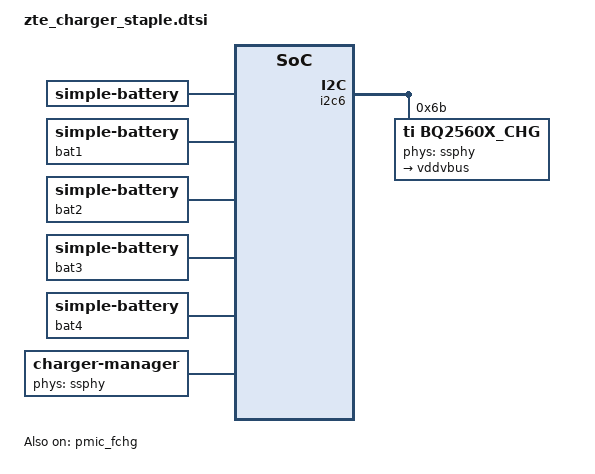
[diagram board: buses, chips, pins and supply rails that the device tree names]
/ {
	bat: battery {
		compatible = "simple-battery";
		charge-full-design-microamp-hours = <3690000>;
		charge-term-current-microamp = <120000>;
		constant-charge-voltage-max-microvolt = <4400000>;
		factory-internal-resistance-micro-ohms = <130000>;
		voltage-min-design-microvolt = <3450000>;
		fullbatt-voltage = <4350000>;
		fullbatt-current = <120000>;
		fullbatt-track-end-vol = <4345000>;
		fullbatt-track-end-cur = <130000>;
		first-calib-voltage = <3630000>;
		first-calib-capacity = <50>;

		cap-calib-energy-density-ocv-table = <3350000 3800000>, <4150000 4350000>;
		cap-track-energy-density-ocv-table = <3400000 3722000>;

		ocv-capacity-celsius = <20>;
		ocv-capacity-table-0 = <4380000 100>, <4317000 95>, <4258000 90>,
					<4200000 85>, <4145000 80>, <4092000 75>,
					<4047000 70>, <3990000 65>, <3955000 60>,
					<3900000 55>, <3861000 50>, <3834000 45>,
					<3813000 40>, <3796000 35>, <3783000 30>,
					<3770000 25>, <3752000 20>, <3730000 15>,
					<3698000 10>, <3687000 5>, <3400000 0>;
		voltage-temp-table = <1095000 800>, <986000 850>, <878000 900>,
					<775000 950>, <678000 1000>, <590000 1050>,
					<510000 1100>, <440000 1150>, <378000 1200>,
					<324000 1250>, <278000 1300>, <238000 1350>,
					<204000 1400>, <175000 1450>, <150000 1500>,
					<129000 1550>, <111000 1600>, <96000 1650>;
		capacity-temp-table = <45 100>, <25 100>, <10 98>, <0 93>, <(-10) 85>, <(-20) 64>;
		resistance-temp-table = <45 77>, <25 100>, <10 546>, <0 769>, <(-10) 892>, <(-20) 923>;

/*
		battery-internal-resistance-celsius = <(-20)>, <(-10)>, <0>, <10>,
			<25>, <35>, <45>, <55>;
		battery-internal-resistance-table-0 = <1224>, <1224>, <1140>,
			<1084>, <1034>, <1001>, <994>, <992>, <992>, <992>,
			<996>, <1002>, <1010>, <1024>, <1045>, <1072>, <1180>,
			<1393>, <1756>, <2461>, <4272>;
		battery-internal-resistance-table-1 = <893>, <893>, <818>, <767>,
			<743>, <705>, <685>, <684>, <678>, <675>, <672>, <673>,
			<679>, <691>, <709>, <734>, <765>, <799>, <839>, <899>,
			<1092>;
		battery-internal-resistance-table-2 = <407>, <407>, <402>, <423>,
			<429>, <428>, <409>, <416>, <408>, <395>, <390>, <390>,
			<393>, <398>, <405>, <416>, <431>, <452>, <492>, <585>,
			<730>;
		battery-internal-resistance-table-3 = <381>, <381>, <378>, <371>,
			<366>, <374>, <358>, <364>, <349>, <332>, <327>, <329>,
			<334>, <340>, <350>, <366>, <386>, <417>, <475>, <585>,
			<771>;
		battery-internal-resistance-table-4 = <182>, <182>, <179>, <179>,
			<179>, <181>, <182>, <195>, <194>, <173>, <164>, <164>,
			<167>, <171>, <175>, <174>, <172>, <179>, <187>, <244>,
			<311>;
		battery-internal-resistance-table-5 = <168>, <168>, <175>, <172>,
			<171>, <171>, <173>, <184>, <176>, <153>, <147>, <147>,
			<150>, <153>, <156>, <152>, <149>, <154>, <158>, <206>,
			<255>;
		battery-internal-resistance-table-6 = <123>, <123>, <122>, <122>,
			<123>, <126>, <130>, <138>, <143>, <120>, <115>, <116>,
			<119>, <124>, <129>, <120>, <117>, <119>, <117>, <139>,
			<156>;
		battery-internal-resistance-table-7 = <106>, <106>, <106>, <106>,
			<108>, <110>, <113>, <119>, <128>, <107>, <104>, <105>,
			<108>, <112>, <117>, <107>, <106>, <107>, <105>, <127>,
			<140>;
		battery-internal-resistance-ocv-table = <4339000>, <4276000>,
			<4221000>, <4169000>, <4118000>, <4072000>, <4022000>,
			<3983000>, <3942000>, <3892000>, <3857000>, <3833000>,
			<3813000>, <3797000>, <3783000>, <3766000>, <3746000>,
			<3723000>, <3693000>, <3680000>, <3439000>;
*/

		charge-sdp-current-microamp = <500000 500000>;
		charge-dcp-current-microamp = <1150000 3000000>;
		charge-cdp-current-microamp = <1150000 1150000>;
		charge-unknown-current-microamp = <500000 500000>;

		dcp-jeita-temp-table = <1000 1030 0 4400000>, <1150 1180 700000 4400000>,
			<1450 1420 1150000 4400000>, <1600 1570 700000 4100000>;
		sdp-jeita-temp-table = <1000 1030 0 4400000>, <1150 1180 500000 4400000>,
			<1450 1420 500000 4400000>, <1600 1570 500000 4100000>;
		cdp-jeita-temp-table = <1000 1030 0 4400000>, <1150 1180 700000 4400000>,
			<1450 1420 1150000 4400000>, <1600 1570 700000 4100000>;
		unknown-jeita-temp-table = <1000 1030 0 4400000>, <1150 1180 500000 4400000>,
			<1450 1420 500000 4400000>, <1600 1570 500000 4100000>;
		force-jeita-status = <2>;
	};

	bat1: battery1 {
		compatible = "simple-battery";
		charge-full-design-microamp-hours = <3690000>;
		charge-term-current-microamp = <120000>;
		constant-charge-voltage-max-microvolt = <4400000>;
		factory-internal-resistance-micro-ohms = <130000>;
		voltage-min-design-microvolt = <3450000>;
		fullbatt-voltage = <4350000>;
		fullbatt-current = <120000>;
		fullbatt-track-end-vol = <4345000>;
		fullbatt-track-end-cur = <130000>;
		first-calib-voltage = <3630000>;
		first-calib-capacity = <50>;

		cap-calib-energy-density-ocv-table = <3350000 3800000>, <4150000 4350000>;
		cap-track-energy-density-ocv-table = <3400000 3722000>;

		ocv-capacity-celsius = <20>;
		ocv-capacity-table-0 = <4380000 100>, <4317000 95>, <4258000 90>,
					<4200000 85>, <4145000 80>, <4092000 75>,
					<4047000 70>, <3990000 65>, <3955000 60>,
					<3900000 55>, <3861000 50>, <3834000 45>,
					<3813000 40>, <3796000 35>, <3783000 30>,
					<3770000 25>, <3752000 20>, <3730000 15>,
					<3698000 10>, <3687000 5>, <3400000 0>;
		voltage-temp-table = <1095000 800>, <986000 850>, <878000 900>,
					<775000 950>, <678000 1000>, <590000 1050>,
					<510000 1100>, <440000 1150>, <378000 1200>,
					<324000 1250>, <278000 1300>, <238000 1350>,
					<204000 1400>, <175000 1450>, <150000 1500>,
					<129000 1550>, <111000 1600>, <96000 1650>;
		capacity-temp-table = <45 100>, <25 100>, <10 98>, <0 93>, <(-10) 85>, <(-20) 64>;
		resistance-temp-table = <45 77>, <25 100>, <10 546>, <0 769>, <(-10) 892>, <(-20) 923>;

/*
		battery-internal-resistance-celsius = <(-20)>, <(-10)>, <0>, <10>,
			<25>, <35>, <45>, <55>;
		battery-internal-resistance-table-0 = <1224>, <1224>, <1140>,
			<1084>, <1034>, <1001>, <994>, <992>, <992>, <992>,
			<996>, <1002>, <1010>, <1024>, <1045>, <1072>, <1180>,
			<1393>, <1756>, <2461>, <4272>;
		battery-internal-resistance-table-1 = <893>, <893>, <818>, <767>,
			<743>, <705>, <685>, <684>, <678>, <675>, <672>, <673>,
			<679>, <691>, <709>, <734>, <765>, <799>, <839>, <899>,
			<1092>;
		battery-internal-resistance-table-2 = <407>, <407>, <402>, <423>,
			<429>, <428>, <409>, <416>, <408>, <395>, <390>, <390>,
			<393>, <398>, <405>, <416>, <431>, <452>, <492>, <585>,
			<730>;
		battery-internal-resistance-table-3 = <381>, <381>, <378>, <371>,
			<366>, <374>, <358>, <364>, <349>, <332>, <327>, <329>,
			<334>, <340>, <350>, <366>, <386>, <417>, <475>, <585>,
			<771>;
		battery-internal-resistance-table-4 = <182>, <182>, <179>, <179>,
			<179>, <181>, <182>, <195>, <194>, <173>, <164>, <164>,
			<167>, <171>, <175>, <174>, <172>, <179>, <187>, <244>,
			<311>;
		battery-internal-resistance-table-5 = <168>, <168>, <175>, <172>,
			<171>, <171>, <173>, <184>, <176>, <153>, <147>, <147>,
			<150>, <153>, <156>, <152>, <149>, <154>, <158>, <206>,
			<255>;
		battery-internal-resistance-table-6 = <123>, <123>, <122>, <122>,
			<123>, <126>, <130>, <138>, <143>, <120>, <115>, <116>,
			<119>, <124>, <129>, <120>, <117>, <119>, <117>, <139>,
			<156>;
		battery-internal-resistance-table-7 = <106>, <106>, <106>, <106>,
			<108>, <110>, <113>, <119>, <128>, <107>, <104>, <105>,
			<108>, <112>, <117>, <107>, <106>, <107>, <105>, <127>,
			<140>;
		battery-internal-resistance-ocv-table = <4339000>, <4276000>,
			<4221000>, <4169000>, <4118000>, <4072000>, <4022000>,
			<3983000>, <3942000>, <3892000>, <3857000>, <3833000>,
			<3813000>, <3797000>, <3783000>, <3766000>, <3746000>,
			<3723000>, <3693000>, <3680000>, <3439000>;
*/

		charge-sdp-current-microamp = <500000 500000>;
		charge-dcp-current-microamp = <1150000 3000000>;
		charge-cdp-current-microamp = <1150000 1150000>;
		charge-unknown-current-microamp = <500000 500000>;

		dcp-jeita-temp-table = <1000 1030 0 4400000>, <1150 1180 700000 4400000>,
			<1450 1420 1150000 4400000>, <1600 1570 700000 4100000>;
		sdp-jeita-temp-table = <1000 1030 0 4400000>, <1150 1180 500000 4400000>,
			<1450 1420 500000 4400000>, <1600 1570 500000 4100000>;
		cdp-jeita-temp-table = <1000 1030 0 4400000>, <1150 1180 700000 4400000>,
			<1450 1420 1150000 4400000>, <1600 1570 700000 4100000>;
		unknown-jeita-temp-table = <1000 1030 0 4400000>, <1150 1180 500000 4400000>,
			<1450 1420 500000 4400000>, <1600 1570 500000 4100000>;
		force-jeita-status = <2>;
	};

	bat2: battery2 {
		compatible = "simple-battery";
		charge-full-design-microamp-hours = <3690000>;
		charge-term-current-microamp = <120000>;
		constant-charge-voltage-max-microvolt = <4400000>;
		factory-internal-resistance-micro-ohms = <130000>;
		voltage-min-design-microvolt = <3450000>;
		fullbatt-voltage = <4350000>;
		fullbatt-current = <120000>;
		fullbatt-track-end-vol = <4345000>;
		fullbatt-track-end-cur = <130000>;
		first-calib-voltage = <3630000>;
		first-calib-capacity = <50>;

		cap-calib-energy-density-ocv-table = <3350000 3800000>, <4150000 4350000>;
		cap-track-energy-density-ocv-table = <3400000 3722000>;

		ocv-capacity-celsius = <20>;
		ocv-capacity-table-0 = <4380000 100>, <4317000 95>, <4258000 90>,
					<4200000 85>, <4145000 80>, <4092000 75>,
					<4047000 70>, <3990000 65>, <3955000 60>,
					<3900000 55>, <3861000 50>, <3834000 45>,
					<3813000 40>, <3796000 35>, <3783000 30>,
					<3770000 25>, <3752000 20>, <3730000 15>,
					<3698000 10>, <3687000 5>, <3400000 0>;
		voltage-temp-table = <1095000 800>, <986000 850>, <878000 900>,
					<775000 950>, <678000 1000>, <590000 1050>,
					<510000 1100>, <440000 1150>, <378000 1200>,
					<324000 1250>, <278000 1300>, <238000 1350>,
					<204000 1400>, <175000 1450>, <150000 1500>,
					<129000 1550>, <111000 1600>, <96000 1650>;
		capacity-temp-table = <45 100>, <25 100>, <10 98>, <0 93>, <(-10) 85>, <(-20) 64>;
		resistance-temp-table = <45 77>, <25 100>, <10 546>, <0 769>, <(-10) 892>, <(-20) 923>;

/*
		battery-internal-resistance-celsius = <(-20)>, <(-10)>, <0>, <10>,
			<25>, <35>, <45>, <55>;
		battery-internal-resistance-table-0 = <1224>, <1224>, <1140>,
			<1084>, <1034>, <1001>, <994>, <992>, <992>, <992>,
			<996>, <1002>, <1010>, <1024>, <1045>, <1072>, <1180>,
			<1393>, <1756>, <2461>, <4272>;
		battery-internal-resistance-table-1 = <893>, <893>, <818>, <767>,
			<743>, <705>, <685>, <684>, <678>, <675>, <672>, <673>,
			<679>, <691>, <709>, <734>, <765>, <799>, <839>, <899>,
			<1092>;
		battery-internal-resistance-table-2 = <407>, <407>, <402>, <423>,
			<429>, <428>, <409>, <416>, <408>, <395>, <390>, <390>,
			<393>, <398>, <405>, <416>, <431>, <452>, <492>, <585>,
			<730>;
		battery-internal-resistance-table-3 = <381>, <381>, <378>, <371>,
			<366>, <374>, <358>, <364>, <349>, <332>, <327>, <329>,
			<334>, <340>, <350>, <366>, <386>, <417>, <475>, <585>,
			<771>;
		battery-internal-resistance-table-4 = <182>, <182>, <179>, <179>,
			<179>, <181>, <182>, <195>, <194>, <173>, <164>, <164>,
			<167>, <171>, <175>, <174>, <172>, <179>, <187>, <244>,
			<311>;
		battery-internal-resistance-table-5 = <168>, <168>, <175>, <172>,
			<171>, <171>, <173>, <184>, <176>, <153>, <147>, <147>,
			<150>, <153>, <156>, <152>, <149>, <154>, <158>, <206>,
			<255>;
		battery-internal-resistance-table-6 = <123>, <123>, <122>, <122>,
			<123>, <126>, <130>, <138>, <143>, <120>, <115>, <116>,
			<119>, <124>, <129>, <120>, <117>, <119>, <117>, <139>,
			<156>;
		battery-internal-resistance-table-7 = <106>, <106>, <106>, <106>,
			<108>, <110>, <113>, <119>, <128>, <107>, <104>, <105>,
			<108>, <112>, <117>, <107>, <106>, <107>, <105>, <127>,
			<140>;
		battery-internal-resistance-ocv-table = <4339000>, <4276000>,
			<4221000>, <4169000>, <4118000>, <4072000>, <4022000>,
			<3983000>, <3942000>, <3892000>, <3857000>, <3833000>,
			<3813000>, <3797000>, <3783000>, <3766000>, <3746000>,
			<3723000>, <3693000>, <3680000>, <3439000>;
*/

		charge-sdp-current-microamp = <500000 500000>;
		charge-dcp-current-microamp = <1150000 3000000>;
		charge-cdp-current-microamp = <1150000 1150000>;
		charge-unknown-current-microamp = <500000 500000>;

		dcp-jeita-temp-table = <1000 1030 0 4400000>, <1150 1180 700000 4400000>,
			<1450 1420 1150000 4400000>, <1600 1570 700000 4100000>;
		sdp-jeita-temp-table = <1000 1030 0 4400000>, <1150 1180 500000 4400000>,
			<1450 1420 500000 4400000>, <1600 1570 500000 4100000>;
		cdp-jeita-temp-table = <1000 1030 0 4400000>, <1150 1180 700000 4400000>,
			<1450 1420 1150000 4400000>, <1600 1570 700000 4100000>;
		unknown-jeita-temp-table = <1000 1030 0 4400000>, <1150 1180 500000 4400000>,
			<1450 1420 500000 4400000>, <1600 1570 500000 4100000>;
		force-jeita-status = <2>;
	};

	bat3: battery3 {
		compatible = "simple-battery";
		charge-full-design-microamp-hours = <3690000>;
		charge-term-current-microamp = <120000>;
		constant-charge-voltage-max-microvolt = <4400000>;
		factory-internal-resistance-micro-ohms = <130000>;
		voltage-min-design-microvolt = <3450000>;
		fullbatt-voltage = <4350000>;
		fullbatt-current = <120000>;
		fullbatt-track-end-vol = <4345000>;
		fullbatt-track-end-cur = <130000>;
		first-calib-voltage = <3630000>;
		first-calib-capacity = <50>;

		cap-calib-energy-density-ocv-table = <3350000 3800000>, <4150000 4350000>;
		cap-track-energy-density-ocv-table = <3400000 3722000>;

		ocv-capacity-celsius = <20>;
		ocv-capacity-table-0 = <4380000 100>, <4317000 95>, <4258000 90>,
					<4200000 85>, <4145000 80>, <4092000 75>,
					<4047000 70>, <3990000 65>, <3955000 60>,
					<3900000 55>, <3861000 50>, <3834000 45>,
					<3813000 40>, <3796000 35>, <3783000 30>,
					<3770000 25>, <3752000 20>, <3730000 15>,
					<3698000 10>, <3687000 5>, <3400000 0>;
		voltage-temp-table = <1095000 800>, <986000 850>, <878000 900>,
					<775000 950>, <678000 1000>, <590000 1050>,
					<510000 1100>, <440000 1150>, <378000 1200>,
					<324000 1250>, <278000 1300>, <238000 1350>,
					<204000 1400>, <175000 1450>, <150000 1500>,
					<129000 1550>, <111000 1600>, <96000 1650>;
		capacity-temp-table = <45 100>, <25 100>, <10 98>, <0 93>, <(-10) 85>, <(-20) 64>;
		resistance-temp-table = <45 77>, <25 100>, <10 546>, <0 769>, <(-10) 892>, <(-20) 923>;

/*
		battery-internal-resistance-celsius = <(-20)>, <(-10)>, <0>, <10>,
			<25>, <35>, <45>, <55>;
		battery-internal-resistance-table-0 = <1224>, <1224>, <1140>,
			<1084>, <1034>, <1001>, <994>, <992>, <992>, <992>,
			<996>, <1002>, <1010>, <1024>, <1045>, <1072>, <1180>,
			<1393>, <1756>, <2461>, <4272>;
		battery-internal-resistance-table-1 = <893>, <893>, <818>, <767>,
			<743>, <705>, <685>, <684>, <678>, <675>, <672>, <673>,
			<679>, <691>, <709>, <734>, <765>, <799>, <839>, <899>,
			<1092>;
		battery-internal-resistance-table-2 = <407>, <407>, <402>, <423>,
			<429>, <428>, <409>, <416>, <408>, <395>, <390>, <390>,
			<393>, <398>, <405>, <416>, <431>, <452>, <492>, <585>,
			<730>;
		battery-internal-resistance-table-3 = <381>, <381>, <378>, <371>,
			<366>, <374>, <358>, <364>, <349>, <332>, <327>, <329>,
			<334>, <340>, <350>, <366>, <386>, <417>, <475>, <585>,
			<771>;
		battery-internal-resistance-table-4 = <182>, <182>, <179>, <179>,
			<179>, <181>, <182>, <195>, <194>, <173>, <164>, <164>,
			<167>, <171>, <175>, <174>, <172>, <179>, <187>, <244>,
			<311>;
		battery-internal-resistance-table-5 = <168>, <168>, <175>, <172>,
			<171>, <171>, <173>, <184>, <176>, <153>, <147>, <147>,
			<150>, <153>, <156>, <152>, <149>, <154>, <158>, <206>,
			<255>;
		battery-internal-resistance-table-6 = <123>, <123>, <122>, <122>,
			<123>, <126>, <130>, <138>, <143>, <120>, <115>, <116>,
			<119>, <124>, <129>, <120>, <117>, <119>, <117>, <139>,
			<156>;
		battery-internal-resistance-table-7 = <106>, <106>, <106>, <106>,
			<108>, <110>, <113>, <119>, <128>, <107>, <104>, <105>,
			<108>, <112>, <117>, <107>, <106>, <107>, <105>, <127>,
			<140>;
		battery-internal-resistance-ocv-table = <4339000>, <4276000>,
			<4221000>, <4169000>, <4118000>, <4072000>, <4022000>,
			<3983000>, <3942000>, <3892000>, <3857000>, <3833000>,
			<3813000>, <3797000>, <3783000>, <3766000>, <3746000>,
			<3723000>, <3693000>, <3680000>, <3439000>;
*/

		charge-sdp-current-microamp = <500000 500000>;
		charge-dcp-current-microamp = <1150000 3000000>;
		charge-cdp-current-microamp = <1150000 1150000>;
		charge-unknown-current-microamp = <500000 500000>;

		dcp-jeita-temp-table = <1000 1030 0 4400000>, <1150 1180 700000 4400000>,
			<1450 1420 1150000 4400000>, <1600 1570 700000 4100000>;
		sdp-jeita-temp-table = <1000 1030 0 4400000>, <1150 1180 500000 4400000>,
			<1450 1420 500000 4400000>, <1600 1570 500000 4100000>;
		cdp-jeita-temp-table = <1000 1030 0 4400000>, <1150 1180 700000 4400000>,
			<1450 1420 1150000 4400000>, <1600 1570 700000 4100000>;
		unknown-jeita-temp-table = <1000 1030 0 4400000>, <1150 1180 500000 4400000>,
			<1450 1420 500000 4400000>, <1600 1570 500000 4100000>;
		force-jeita-status = <2>;
	};

	bat4: battery4 {
		compatible = "simple-battery";
		charge-full-design-microamp-hours = <3690000>;
		charge-term-current-microamp = <120000>;
		constant-charge-voltage-max-microvolt = <4400000>;
		factory-internal-resistance-micro-ohms = <130000>;
		voltage-min-design-microvolt = <3450000>;
		fullbatt-voltage = <4350000>;
		fullbatt-current = <120000>;
		fullbatt-track-end-vol = <4345000>;
		fullbatt-track-end-cur = <130000>;
		first-calib-voltage = <3630000>;
		first-calib-capacity = <50>;

		ocv-capacity-celsius = <20>;
		ocv-capacity-table-0 = <4380000 100>, <4317000 95>, <4258000 90>,
					<4200000 85>, <4145000 80>, <4092000 75>,
					<4047000 70>, <3990000 65>, <3955000 60>,
					<3900000 55>, <3861000 50>, <3834000 45>,
					<3813000 40>, <3796000 35>, <3783000 30>,
					<3770000 25>, <3752000 20>, <3730000 15>,
					<3698000 10>, <3687000 5>, <3400000 0>;
		voltage-temp-table = <1095000 800>, <986000 850>, <878000 900>,
					<775000 950>, <678000 1000>, <590000 1050>,
					<510000 1100>, <440000 1150>, <378000 1200>,
					<324000 1250>, <278000 1300>, <238000 1350>,
					<204000 1400>, <175000 1450>, <150000 1500>,
					<129000 1550>, <111000 1600>, <96000 1650>;
		capacity-temp-table = <45 100>, <25 100>, <10 98>, <0 93>, <(-10) 85>, <(-20) 64>;
		resistance-temp-table = <45 77>, <25 100>, <10 546>, <0 769>, <(-10) 892>, <(-20) 923>;

/*
		battery-internal-resistance-celsius = <(-20)>, <(-10)>, <0>, <10>,
			<25>, <35>, <45>, <55>;
		battery-internal-resistance-table-0 = <1224>, <1224>, <1140>,
			<1084>, <1034>, <1001>, <994>, <992>, <992>, <992>,
			<996>, <1002>, <1010>, <1024>, <1045>, <1072>, <1180>,
			<1393>, <1756>, <2461>, <4272>;
		battery-internal-resistance-table-1 = <893>, <893>, <818>, <767>,
			<743>, <705>, <685>, <684>, <678>, <675>, <672>, <673>,
			<679>, <691>, <709>, <734>, <765>, <799>, <839>, <899>,
			<1092>;
		battery-internal-resistance-table-2 = <407>, <407>, <402>, <423>,
			<429>, <428>, <409>, <416>, <408>, <395>, <390>, <390>,
			<393>, <398>, <405>, <416>, <431>, <452>, <492>, <585>,
			<730>;
		battery-internal-resistance-table-3 = <381>, <381>, <378>, <371>,
			<366>, <374>, <358>, <364>, <349>, <332>, <327>, <329>,
			<334>, <340>, <350>, <366>, <386>, <417>, <475>, <585>,
			<771>;
		battery-internal-resistance-table-4 = <182>, <182>, <179>, <179>,
			<179>, <181>, <182>, <195>, <194>, <173>, <164>, <164>,
			<167>, <171>, <175>, <174>, <172>, <179>, <187>, <244>,
			<311>;
		battery-internal-resistance-table-5 = <168>, <168>, <175>, <172>,
			<171>, <171>, <173>, <184>, <176>, <153>, <147>, <147>,
			<150>, <153>, <156>, <152>, <149>, <154>, <158>, <206>,
			<255>;
		battery-internal-resistance-table-6 = <123>, <123>, <122>, <122>,
			<123>, <126>, <130>, <138>, <143>, <120>, <115>, <116>,
			<119>, <124>, <129>, <120>, <117>, <119>, <117>, <139>,
			<156>;
		battery-internal-resistance-table-7 = <106>, <106>, <106>, <106>,
			<108>, <110>, <113>, <119>, <128>, <107>, <104>, <105>,
			<108>, <112>, <117>, <107>, <106>, <107>, <105>, <127>,
			<140>;
		battery-internal-resistance-ocv-table = <4339000>, <4276000>,
			<4221000>, <4169000>, <4118000>, <4072000>, <4022000>,
			<3983000>, <3942000>, <3892000>, <3857000>, <3833000>,
			<3813000>, <3797000>, <3783000>, <3766000>, <3746000>,
			<3723000>, <3693000>, <3680000>, <3439000>;
*/

		charge-sdp-current-microamp = <500000 500000>;
		charge-dcp-current-microamp = <1150000 3000000>;
		charge-cdp-current-microamp = <1150000 1150000>;
		charge-unknown-current-microamp = <500000 500000>;

		dcp-jeita-temp-table = <1000 1030 0 4400000>, <1150 1180 700000 4400000>,
			<1450 1420 1150000 4400000>, <1600 1570 700000 4100000>;
		sdp-jeita-temp-table = <1000 1030 0 4400000>, <1150 1180 500000 4400000>,
			<1450 1420 500000 4400000>, <1600 1570 500000 4100000>;
		cdp-jeita-temp-table = <1000 1030 0 4400000>, <1150 1180 700000 4400000>,
			<1450 1420 1150000 4400000>, <1600 1570 700000 4100000>;
		unknown-jeita-temp-table = <1000 1030 0 4400000>, <1150 1180 500000 4400000>,
			<1450 1420 500000 4400000>, <1600 1570 500000 4100000>;
		force-jeita-status = <2>;
	};

	charger-manager {
		compatible = "charger-manager";
		cm-name = "battery";
		cm-poll-mode = <2>;
		cm-poll-interval = <15000>;
		cm-battery-stat = <2>;

		cm-fullbatt-vchkdrop-ms = <30000>;
		cm-fullbatt-vchkdrop-volt = <60000>;
		cm-fullbatt-voltage = <4330000>;
		cm-fullbatt-current = <120000>;
		cm-fullbatt-capacity = <100>;

		cm-num-chargers = <1>;
		cm-chargers = "fan54015_charger";
		cm-fuel-gauge = "sc27xx-fgu";
		/* in deci centigrade */
		cm-battery-cold = <200>;
		cm-battery-cold-in-minus;
		cm-battery-hot = <800>;
		cm-battery-temp-diff = <100>;

		/* Allow charging for 6hr */
		cm-charging-max = <21600000>;
		/* recovery charging after stop charging 45min */
		cm-discharging-max = <2700000>;

		/* the interval to feed charger watchdog */
		cm-wdt-interval = <60>;

		/* drop voltage in microVolts to allow shutdown */
		cm-shutdown-voltage = <3100000>;

		/* when 99% of the time is exceeded, it will be forced to 100% */
		cm-tickle-time-out = <1500>;

		/* how much time to allow capacity change */
		cm-one-cap-time = <30>;

		/* when the safe charging voltage is exceeded, stop charging */
		cm-charge-voltage-max = <6500000>;
		/* drop voltage in microVolts to restart charging */
		cm-charge-voltage-drop = <700000>;
		cm-dcp-jeita-temp-table = <1000 1030 0 4350000>, <1150 1180 700000 4350000>,
			<1450 1420 1150000 4350000>, <1600 1570 700000 4100000>;
		cm-sdp-jeita-temp-table = <1000 1030 0 4350000>, <1150 1180 500000 4350000>,
			<1450 1420 500000 4350000>, <1600 1570 500000 4100000>;
		cm-cdp-jeita-temp-table = <1000 1030 0 4350000>, <1150 1180 700000 4350000>,
			<1450 1420 1150000 4350000>, <1600 1570 700000 4100000>;
		cm-unknown-jeita-temp-table = <1000 1030 0 4350000>, <1150 1180 500000 4350000>,
			<1450 1420 500000 4350000>, <1600 1570 500000 4100000>;

		monitored-battery = <&bat &bat1 &bat2 &bat3 &bat4>;
		cm-capacity-track;

		regulator@0 {
			cm-regulator-name = "vddgen0";
			cable@0 {
				cm-cable-name = "USB";
				extcon = <&pmic_typec>;
			};
		};
	};
};

&bat {
	charge-term-current-microamp = <300000>;
	constant-charge-voltage-max-microvolt = <4400000>;
	constant-charge-current-max-microamp = <2800000>;
	factory-internal-resistance-micro-ohms = <261000>;
	voltage-min-design-microvolt = <3450000>;
	fast-charge-threshold-microvolt = <4100000>;
	fullbatt-voltage = <4300000>;
	fullbatt-current = <120000>;
	fullbatt-track-end-vol = <4295000>;
	fullbatt-track-end-cur = <130000>;
	first-calib-voltage = <3580000>;
	first-calib-capacity = <50>;

	ir-cv-offset-microvolt = <100000>;
	ir-rc-micro-ohms = <20000>;
	ir-us-upper-limit-microvolt = <4500000>;
	ocv-capacity-celsius = <25>;
	batt-id-list = <47 300 10 390 20>;  /* kohm, fenghua4000/scud5000/ningde5000/tianmao5000/guanyu5000*/
	charge-full-design-microamp-hours = <4000000>;
	/*Minimum Capacity 3860*0.9 = 3474 3860*0.94 = 3628 3860*0.95 = 3667 3860*0.96 = 3705,we use *0.96 */
	charge-full-microamp-hours = <3705000>;
	fullbatt-advance-level = <998>;

	ocv-capacity-table-0 = <4354000 100>, <4285000 95>, <4222000 90>,
				<4163000 85>, <4108000 80>, <4054000 75>,
				<4005000 70>, <3961000 65>, <3918000 60>,
				<3864000 55>, <3828000 50>, <3804000 45>,
				<3785000 40>, <3772000 35>, <3765000 30>,
				<3753000 25>, <3734000 20>, <3711000 15>,
				<3667000 10>, <3584000 5>, <3400000 0>;
	/* NTC 100k, Vref 1850mV, R pull-up 110K, R pull-down 1000k */
	voltage-temp-table = <1568441 750>, <1534549 800>, <1492014 850>,
				<1439819 900>, <1377274 950>, <1304550 1000>,
				<1222195 1050>, <1131821 1100>, <1035662 1150>,
				<936426 1200>, <837104 1250>, <740441 1300>,
				<648801 1350>, <563916 1400>, <486937 1450>,
				<418193 1500>, <357806 1550>, <305304 1600>,
				<260067 1650>, <221438 1700>, <188468 1750>;
	capacity-temp-table = <25 100>, <10 100>, <0 91>, <(-10) 72>, <(-20) 39>;
	resistance-temp-table = <25 100>, <10 242>, <0 373>, <(-10) 447>, <(-20) 571>;
	charge-sdp-current-microamp = <700000 500000>;
	charge-dcp-current-microamp = <2800000 2000000>;
	charge-cdp-current-microamp = <2800000 1500000>;
	charge-unknown-current-microamp = <1000000 1000000>;
	charge-fchg-current-microamp = <2800000 2000000>;
	charge-flash-current-microamp = <2800000 2000000>;
	dcp-jeita-temp-table = <1000 1030 0 4400000>,
				<1050 1080 1200000 4400000>,
				<1100 1180 1200000 4400000>,
				<1450 1420 2800000 4400000>,
				<1550 1520 2000000 4100000>;
	sdp-jeita-temp-table = <1000 1030 0 4400000>,
				<1050 1080 1200000 4400000>,
				<1100 1180 1200000 4400000>,
				<1450 1420 2800000 4400000>,
				<1550 1520 2000000 4100000>;
	cdp-jeita-temp-table = <1000 1030 0 4400000>,
				<1050 1080 1200000 4400000>,
				<1100 1180 1200000 4400000>,
				<1450 1420 2800000 4400000>,
				<1550 1520 2000000 4100000>;
	unknown-jeita-temp-table = <1000 1030 0 4400000>,
				<1050 1080 1200000 4400000>,
				<1100 1180 1200000 4400000>,
				<1450 1420 2800000 4400000>,
				<1550 1520 2000000 4100000>;
	fchg-jeita-temp-table = <1000 1030 0 4400000>,
				<1050 1080 1200000 4400000>,
				<1100 1180 1200000 4400000>,
				<1450 1420 2800000 4400000>,
				<1550 1520 2000000 4100000>;
	flash-jeita-temp-table = <1000 1030 0 4400000>,
				<1050 1080 1200000 4400000>,
				<1100 1180 1200000 4400000>,
				<1450 1420 2800000 4400000>,
				<1550 1520 2000000 4100000>;
};

&bat1 {
	charge-term-current-microamp = <420000>;
	constant-charge-voltage-max-microvolt = <4400000>;
	constant-charge-current-max-microamp = <3400000>;
	factory-internal-resistance-micro-ohms = <225000>;
	voltage-min-design-microvolt = <3450000>;
	fast-charge-threshold-microvolt = <4100000>;
	fullbatt-voltage = <4300000>;
	fullbatt-current = <120000>;
	fullbatt-track-end-vol = <4295000>;
	fullbatt-track-end-cur = <130000>;
	first-calib-voltage = <3580000>;
	first-calib-capacity = <50>;

	ir-cv-offset-microvolt = <100000>;
	ir-rc-micro-ohms = <20000>;
	ir-us-upper-limit-microvolt = <4500000>;
	ocv-capacity-celsius = <25>;
	batt-id-list = <47 300 10 390 20>;  /* kohm, fenghua4000/scud5000/ningde5000/tianmao5000/guanyu5000*/
	charge-full-design-microamp-hours = <5000000>;
	/*Minimum Capacity 4870*0.9 = 4383 4870*0.94 = 4558 4870*0.95 = 4626 4870*0.96 = 4675,we use *0.96 */
	charge-full-microamp-hours = <4675000>;
	fullbatt-advance-level = <995>;

	ocv-capacity-table-0 = <4374000 100>, <4308000 95>, <4250000 90>,
				<4193000 85>, <4139000 80>, <4086000 75>,
				<4037000 70>, <3992000 65>, <3951000 60>,
				<3896000 55>, <3860000 50>, <3836000 45>,
				<3814000 40>, <3797000 35>, <3784000 30>,
				<3767000 25>, <3749000 20>, <3726000 15>,
				<3697000 10>, <3683000 5>, <3400000 0>;
	/* NTC 100k, Vref 1850mV, R pull-up 110K, R pull-down 1000k */
	voltage-temp-table = <1568441 750>, <1534549 800>, <1492014 850>,
				<1439819 900>, <1377274 950>, <1304550 1000>,
				<1222195 1050>, <1131821 1100>, <1035662 1150>,
				<936426 1200>, <837104 1250>, <740441 1300>,
				<648801 1350>, <563916 1400>, <486937 1450>,
				<418193 1500>, <357806 1550>, <305304 1600>,
				<260067 1650>, <221438 1700>, <188468 1750>;
	capacity-temp-table = <25 100>, <10 100>, <0 97>, <(-10) 89>, <(-20) 57>;
	resistance-temp-table = <25 100>, <10 332>, <0 507>, <(-10) 569>, <(-20) 675>;
	charge-sdp-current-microamp = <700000 500000>;
	charge-dcp-current-microamp = <3400000 2000000>;
	charge-cdp-current-microamp = <3400000 1500000>;
	charge-unknown-current-microamp = <1000000 1000000>;
	charge-fchg-current-microamp = <3400000 2000000>;
	charge-flash-current-microamp = <3400000 2000000>;
	dcp-jeita-temp-table = <1000 1030 0 4400000>,
				<1050 1080 1400000 4400000>,
				<1100 1180 1400000 4400000>,
				<1450 1420 3400000 4400000>,
				<1550 1520 2400000 4100000>;
	sdp-jeita-temp-table = <1000 1030 0 4400000>,
				<1050 1080 1400000 4400000>,
				<1100 1180 1400000 4400000>,
				<1450 1420 3400000 4400000>,
				<1550 1520 2400000 4100000>;
	cdp-jeita-temp-table = <1000 1030 0 4400000>,
				<1050 1080 1400000 4400000>,
				<1100 1180 1400000 4400000>,
				<1450 1420 3400000 4400000>,
				<1550 1520 2400000 4100000>;
	unknown-jeita-temp-table = <1000 1030 0 4400000>,
				<1050 1080 1400000 4400000>,
				<1100 1180 1400000 4400000>,
				<1450 1420 3400000 4400000>,
				<1550 1520 2400000 4100000>;

	fchg-jeita-temp-table = <1000 1030 0 4400000>,
				<1050 1080 1400000 4400000>,
				<1100 1180 1400000 4400000>,
				<1450 1420 3400000 4400000>,
				<1550 1520 2400000 4100000>;
	flash-jeita-temp-table = <1000 1030 0 4400000>,
				<1050 1080 1400000 4400000>,
				<1100 1180 1400000 4400000>,
				<1450 1420 3400000 4400000>,
				<1550 1520 2400000 4100000>;
};

&bat2 {
	charge-term-current-microamp = <420000>;
	constant-charge-voltage-max-microvolt = <4400000>;
	constant-charge-current-max-microamp = <3400000>;
	factory-internal-resistance-micro-ohms = <128000>;
	voltage-min-design-microvolt = <3450000>;
	fast-charge-threshold-microvolt = <4100000>;
	fullbatt-voltage = <4300000>;
	fullbatt-current = <120000>;
	fullbatt-track-end-vol = <4295000>;
	fullbatt-track-end-cur = <130000>;
	first-calib-voltage = <3580000>;
	first-calib-capacity = <50>;

	ir-cv-offset-microvolt = <100000>;
	ir-rc-micro-ohms = <20000>;
	ir-us-upper-limit-microvolt = <4500000>;
	ocv-capacity-celsius = <25>;
	batt-id-list = <47 300 10 390 20>;  /* kohm, fenghua4000/scud5000/ningde5000/tianmao5000/guanyu5000*/
	charge-full-design-microamp-hours = <5000000>;
	/*Minimum Capacity 4870*0.9 = 4383 4870*0.94 = 4558 4870*0.95 = 4626 4870*0.96 = 4675,we use *0.96 */
	charge-full-microamp-hours = <4675000>;
	fullbatt-advance-level = <995>;

	ocv-capacity-table-0 = <4383000 100>, <4307000 95>, <4247000 90>,
				<4192000 85>, <4137000 80>, <4085000 75>,
				<4036000 70>, <3988000 65>, <3951000 60>,
				<3901000 55>, <3859000 50>, <3835000 45>,
				<3816000 40>, <3800000 35>, <3787000 30>,
				<3770000 25>, <3751000 20>, <3728000 15>,
				<3697000 10>, <3688000 5>, <3400000 0>;
	/* NTC 100k, Vref 1850mV, R pull-up 110K, R pull-down 1000k */
	voltage-temp-table = <1568441 750>, <1534549 800>, <1492014 850>,
				<1439819 900>, <1377274 950>, <1304550 1000>,
				<1222195 1050>, <1131821 1100>, <1035662 1150>,
				<936426 1200>, <837104 1250>, <740441 1300>,
				<648801 1350>, <563916 1400>, <486937 1450>,
				<418193 1500>, <357806 1550>, <305304 1600>,
				<260067 1650>, <221438 1700>, <188468 1750>;
	capacity-temp-table = <25 100>, <10 100>, <0 98>, <(-10) 93>, <(-20) 83>;
	resistance-temp-table = <25 100>, <10 158>, <0 813>, <(-10) 970>, <(-20) 1045>;
	charge-sdp-current-microamp = <700000 500000>;
	charge-dcp-current-microamp = <3400000 2000000>;
	charge-cdp-current-microamp = <3400000 1500000>;
	charge-unknown-current-microamp = <1000000 1000000>;
	charge-fchg-current-microamp = <3400000 2000000>;
	charge-flash-current-microamp = <3400000 2000000>;
	dcp-jeita-temp-table = <1000 1030 0 4400000>,
				<1050 1080 1400000 4400000>,
				<1100 1180 1400000 4400000>,
				<1450 1420 3400000 4400000>,
				<1550 1520 2400000 4100000>;
	sdp-jeita-temp-table = <1000 1030 0 4400000>,
				<1050 1080 1400000 4400000>,
				<1100 1180 1400000 4400000>,
				<1450 1420 3400000 4400000>,
				<1550 1520 2400000 4100000>;
	cdp-jeita-temp-table = <1000 1030 0 4400000>,
				<1050 1080 1400000 4400000>,
				<1100 1180 1400000 4400000>,
				<1450 1420 3400000 4400000>,
				<1550 1520 2400000 4100000>;
	unknown-jeita-temp-table = <1000 1030 0 4400000>,
				<1050 1080 1400000 4400000>,
				<1100 1180 1400000 4400000>,
				<1450 1420 3400000 4400000>,
				<1550 1520 2400000 4100000>;

	fchg-jeita-temp-table = <1000 1030 0 4400000>,
				<1050 1080 1400000 4400000>,
				<1100 1180 1400000 4400000>,
				<1450 1420 3400000 4400000>,
				<1550 1520 2400000 4100000>;
	flash-jeita-temp-table = <1000 1030 0 4400000>,
				<1050 1080 1400000 4400000>,
				<1100 1180 1400000 4400000>,
				<1450 1420 3400000 4400000>,
				<1550 1520 2400000 4100000>;
};

&bat3 {
	charge-term-current-microamp = <420000>;
	constant-charge-voltage-max-microvolt = <4400000>;
	constant-charge-current-max-microamp = <3400000>;
	factory-internal-resistance-micro-ohms = <149000>;
	voltage-min-design-microvolt = <3450000>;
	fast-charge-threshold-microvolt = <4100000>;
	fullbatt-voltage = <4300000>;
	fullbatt-current = <120000>;
	fullbatt-track-end-vol = <4295000>;
	fullbatt-track-end-cur = <130000>;
	first-calib-voltage = <3580000>;
	first-calib-capacity = <50>;

	ir-cv-offset-microvolt = <100000>;
	ir-rc-micro-ohms = <20000>;
	ir-us-upper-limit-microvolt = <4500000>;
	ocv-capacity-celsius = <25>;
	batt-id-list = <47 300 10 390 20>;  /* kohm, fenghua4000/scud5000/ningde5000/tianmao5000/guanyu5000*/
	charge-full-design-microamp-hours = <5000000>;
	/*Minimum Capacity 4870*0.9 = 4383 4870*0.94 = 4558 4870*0.95 = 4626 4870*0.96 = 4675,we use *0.96 */
	charge-full-microamp-hours = <4675000>;
	fullbatt-advance-level = <995>;

	ocv-capacity-table-0 = <4328000 100>, <4264000 95>, <4207000 90>,
				<4152000 85>, <4099000 80>, <4057000 75>,
				<3991000 70>, <3959000 65>, <3918000 60>,
				<3866000 55>, <3835000 50>, <3812000 45>,
				<3794000 40>, <3780000 35>, <3767000 30>,
				<3750000 25>, <3733000 20>, <3709000 15>,
				<3681000 10>, <3671000 5>, <3400000 0>;
	/* NTC 100k, Vref 1850mV, R pull-up 110K, R pull-down 1000k */
	voltage-temp-table = <1568441 750>, <1534549 800>, <1492014 850>,
				<1439819 900>, <1377274 950>, <1304550 1000>,
				<1222195 1050>, <1131821 1100>, <1035662 1150>,
				<936426 1200>, <837104 1250>, <740441 1300>,
				<648801 1350>, <563916 1400>, <486937 1450>,
				<418193 1500>, <357806 1550>, <305304 1600>,
				<260067 1650>, <221438 1700>, <188468 1750>;
	capacity-temp-table = <25 100>, <10 100>, <0 97>, <(-10) 95>, <(-20) 83>;
	resistance-temp-table = <25 100>, <10 178>, <0 725>, <(-10) 812>, <(-20) 894>;
	charge-sdp-current-microamp = <700000 500000>;
	charge-dcp-current-microamp = <3400000 2000000>;
	charge-cdp-current-microamp = <3400000 1500000>;
	charge-unknown-current-microamp = <1000000 1000000>;
	charge-fchg-current-microamp = <3400000 2000000>;
	charge-flash-current-microamp = <3400000 2000000>;
	dcp-jeita-temp-table = <1000 1030 0 4400000>,
				<1050 1080 1400000 4400000>,
				<1100 1180 1400000 4400000>,
				<1450 1420 3400000 4400000>,
				<1550 1520 2400000 4100000>;
	sdp-jeita-temp-table = <1000 1030 0 4400000>,
				<1050 1080 1400000 4400000>,
				<1100 1180 1400000 4400000>,
				<1450 1420 3400000 4400000>,
				<1550 1520 2400000 4100000>;
	cdp-jeita-temp-table = <1000 1030 0 4400000>,
				<1050 1080 1400000 4400000>,
				<1100 1180 1400000 4400000>,
				<1450 1420 3400000 4400000>,
				<1550 1520 2400000 4100000>;
	unknown-jeita-temp-table = <1000 1030 0 4400000>,
				<1050 1080 1400000 4400000>,
				<1100 1180 1400000 4400000>,
				<1450 1420 3400000 4400000>,
				<1550 1520 2400000 4100000>;

	fchg-jeita-temp-table = <1000 1030 0 4400000>,
				<1050 1080 1400000 4400000>,
				<1100 1180 1400000 4400000>,
				<1450 1420 3400000 4400000>,
				<1550 1520 2400000 4100000>;
	flash-jeita-temp-table = <1000 1030 0 4400000>,
				<1050 1080 1400000 4400000>,
				<1100 1180 1400000 4400000>,
				<1450 1420 3400000 4400000>,
				<1550 1520 2400000 4100000>;
};

&bat4 {
	charge-term-current-microamp = <420000>;
	constant-charge-voltage-max-microvolt = <4400000>;
	constant-charge-current-max-microamp = <3400000>;
	factory-internal-resistance-micro-ohms = <167000>;
	voltage-min-design-microvolt = <3450000>;
	fast-charge-threshold-microvolt = <4100000>;
	fullbatt-voltage = <4300000>;
	fullbatt-current = <120000>;
	fullbatt-track-end-vol = <4295000>;
	fullbatt-track-end-cur = <130000>;
	first-calib-voltage = <3580000>;
	first-calib-capacity = <50>;

	ir-cv-offset-microvolt = <100000>;
	ir-rc-micro-ohms = <20000>;
	ir-us-upper-limit-microvolt = <4500000>;
	ocv-capacity-celsius = <25>;
	batt-id-list = <47 300 10 390 20>;  /* kohm, fenghua4000/scud5000/ningde5000/tianmao5000/guanyu5000*/
	charge-full-design-microamp-hours = <5000000>;
	/*Minimum Capacity 4870*0.9 = 4383 4870*0.94 = 4558 4870*0.95 = 4626 4870*0.96 = 4675,we use *0.96 */
	charge-full-microamp-hours = <4675000>;
	fullbatt-advance-level = <995>;

	ocv-capacity-table-0 = <4329000 100>, <4265000 95>, <4207000 90>,
				<4152000 85>, <4099000 80>, <4049000 75>,
				<4001000 70>, <3961000 65>, <3921000 60>,
				<3866000 55>, <3832000 50>, <3810000 45>,
				<3793000 40>, <3779000 35>, <3768000 30>,
				<3755000 25>, <3738000 20>, <3716000 15>,
				<3681000 10>, <3654000 5>, <3400000 0>;
	/* NTC 100k, Vref 1850mV, R pull-up 110K, R pull-down 1000k */
	voltage-temp-table = <1568441 750>, <1534549 800>, <1492014 850>,
				<1439819 900>, <1377274 950>, <1304550 1000>,
				<1222195 1050>, <1131821 1100>, <1035662 1150>,
				<936426 1200>, <837104 1250>, <740441 1300>,
				<648801 1350>, <563916 1400>, <486937 1450>,
				<418193 1500>, <357806 1550>, <305304 1600>,
				<260067 1650>, <221438 1700>, <188468 1750>;
	capacity-temp-table = <25 100>, <10 100>, <0 98>, <(-10) 90>, <(-20) 68>;
	resistance-temp-table = <25 100>, <10 150>, <0 429>, <(-10) 537>, <(-20) 690>;
	charge-sdp-current-microamp = <700000 500000>;
	charge-dcp-current-microamp = <3400000 2000000>;
	charge-cdp-current-microamp = <3400000 1500000>;
	charge-unknown-current-microamp = <1000000 1000000>;
	charge-fchg-current-microamp = <3400000 2000000>;
	charge-flash-current-microamp = <3400000 2000000>;
	dcp-jeita-temp-table = <1000 1030 0 4400000>,
				<1050 1080 1400000 4400000>,
				<1100 1180 1400000 4400000>,
				<1450 1420 3400000 4400000>,
				<1550 1520 2400000 4100000>;
	sdp-jeita-temp-table = <1000 1030 0 4400000>,
				<1050 1080 1400000 4400000>,
				<1100 1180 1400000 4400000>,
				<1450 1420 3400000 4400000>,
				<1550 1520 2400000 4100000>;
	cdp-jeita-temp-table = <1000 1030 0 4400000>,
				<1050 1080 1400000 4400000>,
				<1100 1180 1400000 4400000>,
				<1450 1420 3400000 4400000>,
				<1550 1520 2400000 4100000>;
	unknown-jeita-temp-table = <1000 1030 0 4400000>,
				<1050 1080 1400000 4400000>,
				<1100 1180 1400000 4400000>,
				<1450 1420 3400000 4400000>,
				<1550 1520 2400000 4100000>;

	fchg-jeita-temp-table = <1000 1030 0 4400000>,
				<1050 1080 1400000 4400000>,
				<1100 1180 1400000 4400000>,
				<1450 1420 3400000 4400000>,
				<1550 1520 2400000 4100000>;
	flash-jeita-temp-table = <1000 1030 0 4400000>,
				<1050 1080 1400000 4400000>,
				<1100 1180 1400000 4400000>,
				<1450 1420 3400000 4400000>,
				<1550 1520 2400000 4100000>;
};

&pmic_fgu {
	monitored-battery = <&bat &bat1 &bat2 &bat3 &bat4>;
	sprd,calib-resistance-micro-ohms = <4850>;
	sprd,comp-resistance-mohm = <11>;
	io-channels = <&pmic_adc 6>, <&pmic_adc 0>, <&pmic_adc 14>;
	io-channel-names = "adc-batt-id", "bat-temp", "charge-vol";
};

&pmic_fchg {
	sprd,input-voltage-microvolt = <5000000>;
	phys = <&ssphy>;
	status = "okay";
};
/ {
	charger-manager {
		cm-fullbatt-voltage = <4300000>;
		cm-fullbatt-vchkdrop-volt = <50000>;
		cm-fullbatt-current = <240000>;
		cm-fullbatt-comp-voltage = <32000>;
		cm-thermal-limit = <0>;
		/* in deci centigrade */
		cm-battery-cold = <0>;
		cm-battery-hot = <550>;
		cm-battery-temp-diff = <30>;
		cm-tickle-time-out = <180>;

		cm-disable-charger-type-jeita;

		cm-jeita-temp-table = <1000 1030 0 4400000>,
				<1050 1080 1400000 4400000>,
				<1100 1180 1400000 4400000>,
				<1450 1420 3400000 4400000>,
				<1550 1520 2400000 4100000>;

		cm-chargers = "bq2560x_charger";
		cm-hardware-psy = "bq2560x_charger";
		zte-cm-hardware-psy = "zte_bq2560x_charger";
		zte-cm-fuel-gauge = "zte-fgu";
		
		monitored-battery = <&bat &bat1 &bat2 &bat3 &bat4>;
		phys = <&ssphy>;
	};

	zte_misc: zte_misc {
		status = "okay";
		compatible = "zte-misc";
	};
};

&i2c6 {
	status = "okay";
	bq2560x_chg: charger@6b {
		compatible = "ti,bq2560x_chg";
		reg = <0x6b>;
		phys = <&ssphy>;
		monitored-battery = <&bat &bat1 &bat2 &bat3 &bat4>;
		extcon = <&extcon_gpio>;
		vindpm-value = <4270>;
		boost-limit-value = <500>;/*boost current limit:mA*/
		vddvbus:otg-vbus {
			regulator-name = "vddvbus";
		};
	};
};



#include "../bat_setting/battery_protect_policy_080509200107.dtsi"
